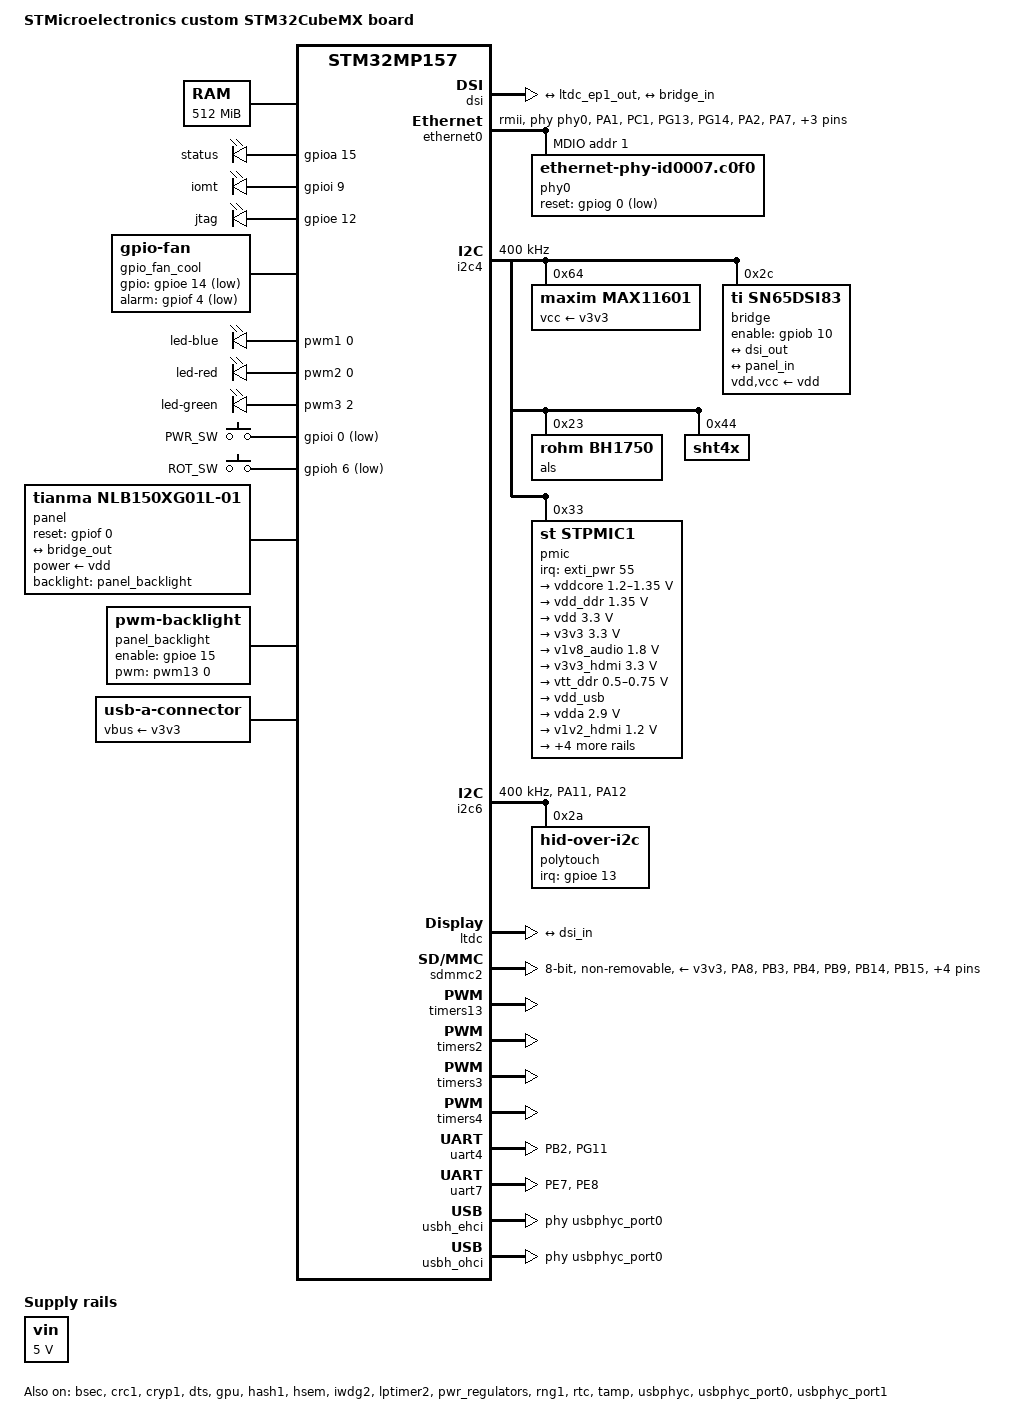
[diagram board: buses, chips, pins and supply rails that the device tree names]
	/* SPDX-License-Identifier: (GPL-2.0+ OR BSD-3-Clause) */
	/*
	 * Copyright (C) STMicroelectronics 2022 - All Rights Reserved
	 * Author: STM32CubeMX code generation for STMicroelectronics.
	 */

	/* For more information on Device Tree configuration, please refer to
	 * https://wiki.st.com/stm32mpu/wiki/Category:Device_tree_configuration
	 */

	/dts-v1/;
	#include <dt-bindings/pinctrl/stm32-pinfunc.h>

	#include "stm32mp157.dtsi"
	#include "stm32mp15xc.dtsi"
	#include "stm32mp15xxac-pinctrl.dtsi"
	#include "stm32mp15-m4-srm.dtsi"

	/* USER CODE BEGIN includes */
	#include <dt-bindings/gpio/gpio.h>
	#include <dt-bindings/mfd/st,stpmic1.h>
	#include <dt-bindings/rtc/rtc-stm32.h>
	#include <dt-bindings/input/input.h>
	#include <dt-bindings/pwm/pwm.h>


	/* USER CODE END includes */

	/ {
		model = "STMicroelectronics custom STM32CubeMX board";
		compatible = "st,stm32mp157c-v510-dsi-emmc-mx", "st,stm32mp157";

		memory@c0000000 {
			device_type = "memory";
			reg = <0xc0000000 0x20000000>;

			/* USER CODE BEGIN memory */
			/* USER CODE END memory */
		};

		reserved-memory {
			#address-cells = <1>;
			#size-cells = <1>;
			ranges;

			/* USER CODE BEGIN reserved-memory */

			mcuram2:mcuram2@10000000{
				compatible = "shared-dma-pool";
				reg = <0x10000000 0x40000>;
				no-map;
			};

			vdev0vring0:vdev0vring0@10040000{
				compatible = "shared-dma-pool";
				reg = <0x10040000 0x1000>;
				no-map;
			};

			vdev0vring1:vdev0vring1@10041000{
				compatible = "shared-dma-pool";
				reg = <0x10041000 0x1000>;
				no-map;
			};

			vdev0buffer:vdev0buffer@10042000{
				compatible = "shared-dma-pool";
				reg = <0x10042000 0x4000>;
				no-map;
			};

			mcu_rsc_table:mcu_rsc_table@10048000{
				compatible = "shared-dma-pool";
				reg = <0x10048000 0x8000>;
				no-map;
			};

			mcuram:mcuram@30000000{
				compatible = "shared-dma-pool";
				reg = <0x30000000 0x40000>;
				no-map;
			};

			retram:retram@38000000{
				compatible = "shared-dma-pool";
				reg = <0x38000000 0x10000>;
				no-map;
			};

			gpu_reserved:gpu@d4000000{
				reg = <0xd4000000 0x4000000>;
				no-map;
			};
			/* USER CODE END reserved-memory */
		};

		/* USER CODE BEGIN root */

		aliases{
			ethernet0 = &ethernet0;
			serial0 = &uart4;
			serial1 = &uart7;
		};

		led{
			compatible = "gpio-leds";

			led-0{
				label = "status";
				gpios = <&gpioa 15 GPIO_ACTIVE_HIGH>;
				linux,default-trigger = "cpu";
				default-state = "on";
			};
			
			//led-1{
				//label = "fan";
				//gpios = <&gpioe 14 GPIO_ACTIVE_HIGH>;
				//linux,default-trigger = "none";
				//default-state = "on";
			//};

			led-2{
				label = "iomt";
				gpios = <&gpioi 9 GPIO_ACTIVE_HIGH>;
				linux,default-trigger = "none";
				default-state = "on";
			};

			led-3{
				label = "jtag";
				gpios = <&gpioe 12 GPIO_ACTIVE_HIGH>;
				linux,default-trigger = "none";
				default-state = "on";
			};

		};

	
		gpio_fan_cool: gpio_fan {
			compatible = "gpio-fan";
			gpios = <&gpioe 14 1>;
			gpio-fan,speed-map = <0		0>,
								 <6000	1>;
			alarm-gpios = <&gpiof 4 1>;
			#cooling-cells = <2>;
			status="okay";
		};
		
		//thermal-zones {
			//cpu_thermal: cpu-thermal {
				//polling-delay = <1000>;
				//trips {
					//cpu-crit {
						//temperature = <120000>;
						//hysteresis = <5000>;
						//type = "critical";
					//};
					//threshold: trip-point@0 {
						//temperature = <60000>;
						//hysteresis = <10000>;
						//type = "passive";
					//};
				//};

				//cooling-maps {
					//map0 {
						//trip = <&threshold>;
						//cooling-device = <&gpio_fan_cool 0 1>;
					//};
				//};
			//};
		//};

		visual-alarm {
			compatible = "pwm-leds";
			led-blue {
				label = "led-blue";
				pwms = <&pwm1 0 1000000 0>;
				max-brightness = <127>;
			};



		   led-red {
				label = "led-red";
				pwms = <&pwm2 0 1000000 0>;
				max-brightness = <127>;
				linux,default-trigger = "default-on";
				brightness = <60>;
			};



		   led-green {
				label = "led-green";
				pwms = <&pwm3 2 1000000 0>;
				max-brightness = <127>;
				linux,default-trigger = "default-on";
				brightness = <60>;
			};
		};

		power-button {
			compatible = "gpio-keys";
			#size-cells = <0>;

			btn-0{
				label = "PWR_SW";
				gpios = <&gpioi 0 GPIO_ACTIVE_LOW>;
				gpio-key,wakeup;
				linux,code = <KEY_POWER> ;
			};
		};

		encoder-button {
			compatible = "gpio-keys";
			#size-cells = <0>;
			//poll-interval = <20>;

			btn-1{
				label = "ROT_SW";
				gpios = <&gpioh 6 GPIO_ACTIVE_LOW>;  // Actual is GPIOH 13
				linux,code = <KEY_SELECT> ;
			};
		};
		
		panel {
			compatible = "tianma,nlb150xg01l-01";
			//reg = <0>;
			backlight = <&panel_backlight>;
			reset-gpios = <&gpiof 0 GPIO_ACTIVE_HIGH>;
			power-supply = <&vdd>;
			status = "okay";
			port {
				panel_in: endpoint {
					remote-endpoint = <&bridge_out>;
				};
			};
		};

		usb_phy_tuning:usb-phy-tuning{
			st,hs-dc-level = <2>;
			st,fs-rftime-tuning;
			st,hs-rftime-reduction;
			st,hs-current-trim = <15>;
			st,hs-impedance-trim = <1>;
			st,squelch-level = <3>;
			st,hs-rx-offset = <2>;
			st,no-lsfs-sc;
		};

		vin:vin{
			compatible = "regulator-fixed";
			regulator-name = "vin";
			regulator-min-microvolt = <5000000>;
			regulator-max-microvolt = <5000000>;
			regulator-always-on;
		};

		chosen{
			stdout-path = "serial0:115200n8";
		};
		
		// Panel brightness should be changed from 500 to 1000 
		panel_backlight: panel-backlight {
			compatible = "pwm-backlight";
			pwms = <&pwm13 0 500000>;	//2KHz backlit frequency
			enable-gpios = <&gpioe 15 GPIO_ACTIVE_HIGH>;
			brightness-levels = <0 2048>;
			num-interpolated-steps = <2048>;
			default-brightness-level = <1000>;
			status = "okay";
		};

		/* USER CODE END root */	

		clocks {
			/* USER CODE BEGIN clocks */
			/* USER CODE END clocks */

	#ifndef CONFIG_TFABOOT
			clk_lsi: clk-lsi {
				clock-frequency = <32000>;
			};
			clk_hsi: clk-hsi {
				clock-frequency = <64000000>;
			};
			clk_csi: clk-csi {
				clock-frequency = <4000000>;
			};
			clk_lse: clk-lse {
				clock-frequency = <32768>;
			};
			clk_hse: clk-hse {
				clock-frequency = <24000000>;
			};
	#endif	/*CONFIG_TFABOOT*/
		};

	}; /*root*/

	&m4_rproc{
		/*Restriction: "memory-region" property is not managed - please to use User-Section if needed*/
		mboxes = <&ipcc 0>, <&ipcc 1>, <&ipcc 2>;
		mbox-names = "vq0", "vq1", "shutdown";
		status = "disabled";

		/* USER CODE BEGIN m4_rproc */
		memory-region = <&retram>, <&mcuram>, <&mcuram2>, <&vdev0vring0>,
				<&vdev0vring1>, <&vdev0buffer>, <&mcu_rsc_table>;
		interrupt-parent = <&exti>;
		interrupts = <68 1>;
		wakeup-source;
		/* USER CODE END m4_rproc */

		m4_system_resources{
			status = "disabled";

			/* USER CODE BEGIN m4_system_resources */
			/* USER CODE END m4_system_resources */
		};
	};

	&bsec{
		status = "okay";

		/* USER CODE BEGIN bsec */
		/* USER CODE END bsec */
	};

	&crc1{
		status = "okay";

		/* USER CODE BEGIN crc1 */
		/* USER CODE END crc1 */
	};

	&cryp1{
		u-boot,dm-pre-reloc;
		status = "okay";

		/* USER CODE BEGIN cryp1 */
		/* USER CODE END cryp1 */
	};

	&dma1{
		status = "okay";

		/* USER CODE BEGIN dma1 */
		sram = <&dma_pool>;
		/* USER CODE END dma1 */
	};

	&dma2{
		status = "okay";

		/* USER CODE BEGIN dma2 */
		sram = <&dma_pool>;	
		/* USER CODE END dma2 */
	};

	&dmamux1{

		dma-masters = <&dma1 &dma2>;
		dma-channels = <16>;

		status = "okay";

		/* USER CODE BEGIN dmamux1 */
		/* USER CODE END dmamux1 */
	};

	&dsi{
		 #address-cells = <1>;
		#size-cells = <0>;
		status = "okay";

		/* USER CODE BEGIN dsi */

		ports{
		
			#address-cells = <1>;
			#size-cells = <0>;

			port@0{
				reg = <0>;

				dsi_in:endpoint{
					remote-endpoint = <&ltdc_ep1_out>;
				};
			};

			port@1{
				reg = <1>;

				dsi_out:endpoint{
					remote-endpoint = <&bridge_in>;
					data-lanes = <0 1>;
					attach-bridge;
				};
			};
		};

		
		
		/* USER CODE END dsi */
	};

	&dts{
		status = "okay";

		/* USER CODE BEGIN dts */
		/* USER CODE END dts */
	};

	&ethernet0{
		pinctrl-names = "default", "sleep";
		pinctrl-0 = <&eth1_pins_mx>;
		pinctrl-1 = <&eth1_sleep_pins_mx>;
		status = "okay";

		/* USER CODE BEGIN ethernet0 */
		phy-mode = "rmii";
		max-speed = <100>;
		phy-handle = <&phy0>;
			st,ext-phyclk;
		mdio0 {
			#address-cells = <1>;
			#size-cells = <0>;
			compatible = "snps,dwmac-mdio";

			phy0: ethernet-phy@1 {
				reg = <1>;
				/* LAN8710Ai */
				compatible = "ethernet-phy-id0007.c0f0",
						 "ethernet-phy-ieee802.3-c22";
				reset-gpios = <&gpiog 0 GPIO_ACTIVE_LOW>;
				reset-assert-us = <1000>;
				reset-deassert-us = <1000>;
				smsc,disable-energy-detect;
				status="okay";
			};
		};
		/* USER CODE END ethernet0 */
	};

	&gpu{
		status = "okay";

		/* USER CODE BEGIN gpu */
		contiguous-area = <&gpu_reserved>;
		/* USER CODE END gpu */
	};

	&hash1{
		u-boot,dm-pre-reloc;
		status = "okay";

		/* USER CODE BEGIN hash1 */
		/* USER CODE END hash1 */
	};

	&hsem{
		status = "okay";

		/* USER CODE BEGIN hsem */
		/* USER CODE END hsem */
	};

	&i2c4{
		u-boot,dm-pre-reloc;
		pinctrl-names = "default", "sleep";
		pinctrl-0 = <&i2c4_pins_z_mx>;
		pinctrl-1 = <&i2c4_sleep_pins_z_mx>;
		status = "okay";
		/* spare dmas for other usage */
	    /delete-property/dmas;
		/delete-property/dma-names;

		/* USER CODE BEGIN i2c4 */
		i2c-scl-rising-time-ns = <185>;
		i2c-scl-falling-time-ns = <20>;
		clock-frequency = <400000>;

		
		max11601@64{
			compatible = "maxim,max11601";
			reg = <0x64>;
			vcc-supply = <&v3v3>;
		};
		
		bridge@2c {
			compatible = "ti,sn65dsi83";
			status = "okay";
			reg = <0x2c>;
			vdd-supply = <&vdd>;
			vcc-supply = <&vdd>;
			enable-gpios = <&gpiob 10 GPIO_ACTIVE_HIGH>;
			ports {
				#address-cells = <1>;
				#size-cells = <0>;
				port@0 {
					reg = <0>;
					bridge_in: endpoint {
						remote-endpoint = <&dsi_out>;
					};
				};
				port@1 {
					reg = <1>;
					bridge_out: endpoint {
					   remote-endpoint = <&panel_in>;
					};
				};
			};
		  
		};

		als@23{
			compatible = "rohm,bh1750";
			reg = <0x23>;
			status = "okay";
		};
		
		sht4x@44{
			compatible = "sht4x";
			reg = <0x44>;
			status = "okay";
		};
		
		pmic:stpmic@33{
			compatible = "st,stpmic1";
			reg = <0x33>;
			interrupts-extended = <&exti_pwr 55 IRQ_TYPE_EDGE_FALLING>;
			interrupt-controller;
			#interrupt-cells = <2>;
			status = "okay";

			regulators{
				compatible = "st,stpmic1-regulators";
				buck1-supply = <&vin>;
				buck2-supply = <&vin>;
				buck3-supply = <&vin>;
				buck4-supply = <&vin>;
				ldo1-supply = <&v3v3>;
				ldo2-supply = <&vin>;
				ldo3-supply = <&vdd_ddr>;
				ldo4-supply = <&vin>;
				ldo5-supply = <&vin>;
				ldo6-supply = <&v3v3>;
				vref_ddr-supply = <&vin>;
				boost-supply = <&vin>;
				pwr_sw1-supply = <&bst_out>;
				pwr_sw2-supply = <&bst_out>;

				vddcore:buck1{
					regulator-name = "vddcore";
					regulator-min-microvolt = <1200000>;
					regulator-max-microvolt = <1350000>;
					regulator-always-on;
					regulator-initial-mode = <0>;
					regulator-over-current-protection;
				};

				vdd_ddr:buck2{
					regulator-name = "vdd_ddr";
					regulator-min-microvolt = <1350000>;
					regulator-max-microvolt = <1350000>;
					regulator-always-on;
					regulator-initial-mode = <0>;
					regulator-over-current-protection;
				};

				vdd:buck3{
					regulator-name = "vdd";
					regulator-min-microvolt = <3300000>;
					regulator-max-microvolt = <3300000>;
					regulator-always-on;
					st,mask-reset;
					regulator-initial-mode = <0>;
					regulator-over-current-protection;
				};

				v3v3:buck4{
					regulator-name = "v3v3";
					regulator-min-microvolt = <3300000>;
					regulator-max-microvolt = <3300000>;
					regulator-always-on;
					regulator-over-current-protection;
					regulator-initial-mode = <0>;
				};

				v1v8_audio:ldo1{
					regulator-name = "v1v8_audio";
					regulator-min-microvolt = <1800000>;
					regulator-max-microvolt = <1800000>;
					regulator-always-on;
					interrupts = <IT_CURLIM_LDO1 0>;
				};

				v3v3_hdmi:ldo2{
					regulator-name = "v3v3_hdmi";
					regulator-min-microvolt = <3300000>;
					regulator-max-microvolt = <3300000>;
					regulator-always-on;
					interrupts = <IT_CURLIM_LDO2 0>;
				};

				vtt_ddr:ldo3{
					regulator-name = "vtt_ddr";
					regulator-min-microvolt = <500000>;
					regulator-max-microvolt = <750000>;
					regulator-always-on;
					regulator-over-current-protection;
				};

				vdd_usb:ldo4{
					regulator-name = "vdd_usb";
					interrupts = <IT_CURLIM_LDO4 0>;
				};

				vdda:ldo5{
					regulator-name = "vdda";
					regulator-min-microvolt = <2900000>;
					regulator-max-microvolt = <2900000>;
					interrupts = <IT_CURLIM_LDO5 0>;
					regulator-boot-on;
				};

				v1v2_hdmi:ldo6{
					regulator-name = "v1v2_hdmi";
					regulator-min-microvolt = <1200000>;
					regulator-max-microvolt = <1200000>;
					regulator-always-on;
					interrupts = <IT_CURLIM_LDO6 0>;
				};

				vref_ddr:vref_ddr{
					regulator-name = "vref_ddr";
					regulator-always-on;
					regulator-over-current-protection;
				};

				bst_out:boost{
					regulator-name = "bst_out";
					interrupts = <IT_OCP_BOOST 0>;
				};

				vbus_otg:pwr_sw1{
					regulator-name = "vbus_otg";
					interrupts = <IT_OCP_OTG 0>;
				};

				vbus_sw:pwr_sw2{
					regulator-name = "vbus_sw";
					interrupts = <IT_OCP_SWOUT 0>;
					regulator-active-discharge = <1>;
				};
			};

			onkey{
				compatible = "st,stpmic1-onkey";
				interrupts = <IT_PONKEY_F 0>, <IT_PONKEY_R 0>;
				interrupt-names = "onkey-falling", "onkey-rising";
				power-off-time-sec = <10>;
				status = "okay";
			};

			watchdog{
				compatible = "st,stpmic1-wdt";
				status = "disabled";
			};
		};
		/* USER CODE END i2c4 */
	};

	&i2c6{
		u-boot,dm-pre-reloc;
		pinctrl-names = "default", "sleep";
		pinctrl-0 = <&i2c6_pins_mx>;
		pinctrl-1 = <&i2c6_sleep_pins_mx>;
		status = "okay";

		/* USER CODE BEGIN i2c6 */

		i2c-scl-rising-time-ns = <185>;
		i2c-scl-falling-time-ns = <20>;
		clock-frequency = <400000>;
		dmas = <&mdma1 38 0x0 0x40008 0x0 0x0 0>,
			   <&mdma1 39 0x0 0x40002 0x0 0x0 0>;
		dma-names = "rx", "tx";

		polytouch: eegalax-ts@2a {
			compatible = "hid-over-i2c";
			reg = <0x2a>;
			hid-descr-addr = <0x000f>;
			interrupt-parent = <&gpioe>;
			interrupts = <13 IRQ_TYPE_LEVEL_LOW>;


			touchscreen-size-x = <1024>;
			touchscreen-size-y = <768>;
			touchscreen-inverted-x;
			touchscreen-inverted-y;
			status="okay";
		};
		/* USER CODE END i2c6 */
	};

	&ipcc{
		status = "okay";

		/* USER CODE BEGIN ipcc */
		/* USER CODE END ipcc */
	};

	&iwdg2{
		status = "okay";

		/* USER CODE BEGIN iwdg2 */
		timeout-sec = <32>;
		/* USER CODE END iwdg2 */
	};

	&lptimer2{
		status = "okay";

		/* USER CODE BEGIN lptimer2 */
		/* USER CODE END lptimer2 */

		counter{
			compatible = "st,stm32-lptimer-counter";
			pinctrl-names = "default", "sleep";
			pinctrl-0 = <&lptim2_counter_pins_mx>;
			pinctrl-1 = <&lptim2_counter_sleep_pins_mx>;
			status = "okay";

			/* USER CODE BEGIN lptimer2_counter */
			/* USER CODE END lptimer2_counter */
		};
	};

	&ltdc{
		status = "okay";

		/* USER CODE BEGIN ltdc */

		port{

			ltdc_ep1_out:endpoint@0{
				reg = <0>;
				remote-endpoint = <&dsi_in>;
			};
		};
		/* USER CODE END ltdc */
	};

	&m4_dma2{
		status = "disabled";

		/* USER CODE BEGIN m4_dma2 */
		/* USER CODE END m4_dma2 */
	};

	&mdma1{
		status = "okay";

		/* USER CODE BEGIN mdma1 */
		/* USER CODE END mdma1 */
	};

	&pwr_regulators{
		status = "okay";

		/* USER CODE BEGIN pwr_regulators */
		vdd-supply = <&vdd>;
		vdd_3v3_usbfs-supply = <&vdd_usb>;
		/* USER CODE END pwr_regulators */
	};

	&rcc{
		u-boot,dm-pre-reloc;
		status = "okay";

		/* USER CODE BEGIN rcc */
		/* USER CODE END rcc */
	};

	&rng1{
		status = "okay";

		/* USER CODE BEGIN rng1 */
		/* USER CODE END rng1 */
	};

	&rtc{
		status = "okay";

		/* USER CODE BEGIN rtc */
		/* USER CODE END rtc */
	};

	&sdmmc2{
		u-boot,dm-pre-reloc;
		pinctrl-names = "default", "opendrain", "sleep";
		pinctrl-0 = <&sdmmc2_pins_mx>;
		pinctrl-1 = <&sdmmc2_opendrain_pins_mx>;
		pinctrl-2 = <&sdmmc2_sleep_pins_mx>;
		status = "okay";

		/* USER CODE BEGIN sdmmc2 */
		non-removable;
		no-sd;
		no-sdio;
		mmc-ddr-3_3v;
		st,neg-edge;
		bus-width = <8>;
		vmmc-supply = <&v3v3>;
		vqmmc-supply = <&vdd>;
		/* USER CODE END sdmmc2 */
	};

	&tamp{
		status = "okay";

		/* USER CODE BEGIN tamp */
		/* USER CODE END tamp */
	};

	&timers13{
		status = "okay";

		/* USER CODE BEGIN timers13 */
		/* USER CODE END timers13 */

		pwm13:pwm{
			pinctrl-names = "default", "sleep";
			pinctrl-0 = <&tim13_pwm_pins_mx>;
			pinctrl-1 = <&tim13_pwm_sleep_pins_mx>;
			status = "okay";

			/* USER CODE BEGIN timers13_pwm */
			#pwm-cells = <2>;
			/* USER CODE END timers13_pwm */
		};
	};

	&timers2{
		status = "okay";
		/delete-property/dmas;
		/delete-property/dma-names;

		/* USER CODE BEGIN timers2 */
		/* USER CODE END timers2 */

		pwm1:pwm {
			pinctrl-names = "default", "sleep";
			pinctrl-0 = <&tim2_pwm_pins_mx>;
			pinctrl-1 = <&tim2_pwm_sleep_pins_mx>;
			status = "okay";

			/* USER CODE BEGIN timers2_pwm */
			/* USER CODE END timers2_pwm */
		};
	};

	&timers3{
		status = "okay";
		/delete-property/dmas;
		/delete-property/dma-names;

		/* USER CODE BEGIN timers3 */
		/* USER CODE END timers3 */

		pwm2:pwm {
			pinctrl-names = "default", "sleep";
			pinctrl-0 = <&tim3_pwm_pins_mx>;
			pinctrl-1 = <&tim3_pwm_sleep_pins_mx>;
			status = "okay";

			/* USER CODE BEGIN timers3_pwm */
			/* USER CODE END timers3_pwm */
		};
	};

	&timers1{
		

		/* USER CODE BEGIN timers3 */
		/* Enable DMA "ch1" for PWM input on TIM1_CH1 */
		dmas = <&dmamux1 13 0x400 0x80000001>;
		dma-names = "ch3";
		status = "disabled";
		/* USER CODE END timers3 */
		
		pwm {
			pinctrl-names = "default", "sleep";
			pinctrl-0 = <&tim1_pins_mx>;
			pinctrl-1 = <&tim1_sleep_pins_mx>;
			status = "okay";

			/* USER CODE BEGIN timers1_pwm */
			/* USER CODE END timers1_pwm */
		};
	};

	&timers4{
		status = "okay";
		/delete-property/dmas;
		/delete-property/dma-names;

		/* USER CODE BEGIN timers4 */
		/* USER CODE END timers4 */

		pwm3:pwm {
			pinctrl-names = "default", "sleep";
			pinctrl-0 = <&tim4_pwm_pins_mx>;
			pinctrl-1 = <&tim4_pwm_sleep_pins_mx>;
			status = "okay";

			/* USER CODE BEGIN timers4_pwm */
			/* USER CODE END timers4_pwm */
		};
	};

	&uart4{
		u-boot,dm-pre-reloc;
		pinctrl-names = "default", "sleep";
		pinctrl-0 = <&uart4_pins_mx>;
		pinctrl-1 = <&uart4_sleep_pins_mx>;
		status = "okay";

		/* USER CODE BEGIN uart4 */
		/delete-property/ dmas;
		/delete-property/ dma-names;
		/* USER CODE END uart4 */
	};


	&uart7{
		pinctrl-names = "default", "sleep";
		pinctrl-0 = <&uart7_pins_mx>;
		pinctrl-1 = <&uart7_sleep_pins_mx>;
		status = "okay";

		/* USER CODE BEGIN uart7 */
		/* USER CODE END uart7 */
	};

	&usbphyc{
			u-boot,dm-pre-reloc;
			status = "okay";

			/* USER CODE BEGIN usbphyc */
			/* USER CODE END usbphyc */
	};

	&usbphyc_port0{
			u-boot,dm-pre-reloc;
			status = "okay";

			/* USER CODE BEGIN usbphyc_port0 */
			phy-supply = <&vdd_usb>;
			st,phy-tuning = <&usb_phy_tuning>;

			connector{
					compatible = "usb-a-connector";
					vbus-supply = <&v3v3>;
			};
			/* USER CODE END usbphyc_port0 */
	};

	&usbphyc_port1{
			u-boot,dm-pre-reloc;
			status = "okay";

			/* USER CODE BEGIN usbphyc_port1 */
			phy-supply = <&vdd_usb>;
			st,phy-tuning = <&usb_phy_tuning>;
			/* USER CODE END usbphyc_port1 */
	};

	&usbh_ehci{
		status = "okay";

		/* USER CODE BEGIN usbh_ehci */
		phys = <&usbphyc_port0>, <&usbphyc_port1 1>;
		phy-names = "usb", "usb";
		/* USER CODE END usbh_ehci */
	};

	&usbh_ohci{
		status = "okay";

		/* USER CODE BEGIN usbh_ohci */
		phys = <&usbphyc_port0>, <&usbphyc_port1 1>;
		phy-names = "usb", "usb";
		/* USER CODE END usbh_ohci */
	};




	/* USER CODE BEGIN addons */

	&cpu0{
		cpu-supply = <&vddcore>;
	};

	&cpu1{
		cpu-supply = <&vddcore>;
	};

	&sram{

		dma_pool:dma_pool@0{
			reg = <0x50000 0x10000>;
			pool;
		};
	};

	/* USER CODE END addons */

	&pinctrl {
		u-boot,dm-pre-reloc;

		eth1_pins_mx: eth1_mx-0 {
			pins1 {
				pinmux = <STM32_PINMUX('A', 1, AF11)>, /* ETH1_REF_CLK */
						 <STM32_PINMUX('C', 1, AF11)>, /* ETH1_MDC */
						 <STM32_PINMUX('G', 13, AF11)>, /* ETH1_TXD0 */
						 <STM32_PINMUX('G', 14, AF11)>; /* ETH1_TXD1 */
				bias-disable;
				drive-push-pull;
				slew-rate = <1>;
			};
			pins2 {
				pinmux = <STM32_PINMUX('A', 2, AF11)>; /* ETH1_MDIO */
				bias-disable;
				drive-push-pull;
				slew-rate = <0>;
			};
			pins3 {
				pinmux = <STM32_PINMUX('A', 7, AF11)>, /* ETH1_CRS_DV */
						 <STM32_PINMUX('C', 4, AF11)>, /* ETH1_RXD0 */
						 <STM32_PINMUX('C', 5, AF11)>; /* ETH1_RXD1 */
				bias-disable;
			};
			pins4 {
				pinmux = <STM32_PINMUX('B', 11, AF11)>; /* ETH1_TX_EN */
			};
		};

		eth1_sleep_pins_mx: eth1_sleep_mx-0 {
			pins {
				pinmux = <STM32_PINMUX('A', 1, ANALOG)>, /* ETH1_REF_CLK */
						 <STM32_PINMUX('A', 2, ANALOG)>, /* ETH1_MDIO */
						 <STM32_PINMUX('A', 7, ANALOG)>, /* ETH1_CRS_DV */
						 <STM32_PINMUX('B', 11, ANALOG)>, /* ETH1_TX_EN */
						 <STM32_PINMUX('C', 1, ANALOG)>, /* ETH1_MDC */
						 <STM32_PINMUX('C', 4, ANALOG)>, /* ETH1_RXD0 */
						 <STM32_PINMUX('C', 5, ANALOG)>, /* ETH1_RXD1 */
						 <STM32_PINMUX('G', 13, ANALOG)>, /* ETH1_TXD0 */
						 <STM32_PINMUX('G', 14, ANALOG)>; /* ETH1_TXD1 */
			};
		};

		i2c6_pins_mx: i2c6_mx-0 {
			u-boot,dm-pre-reloc;
			pins {
				u-boot,dm-pre-reloc;
				pinmux = <STM32_PINMUX('A', 11, AF2)>, /* I2C6_SCL */
						 <STM32_PINMUX('A', 12, AF2)>; /* I2C6_SDA */
				bias-disable;
				drive-open-drain;
				slew-rate = <0>;
			};
		};

		i2c6_sleep_pins_mx: i2c6_sleep_mx-0 {
			u-boot,dm-pre-reloc;
			pins {
				u-boot,dm-pre-reloc;
				pinmux = <STM32_PINMUX('A', 11, ANALOG)>, /* I2C6_SCL */
						 <STM32_PINMUX('A', 12, ANALOG)>; /* I2C6_SDA */
			};
		};

		lptim2_counter_pins_mx: lptim2_counter_mx-0 {
			pins {
				pinmux = <STM32_PINMUX('D', 11, AF3)>, /* LPTIM2_IN2 */
						 <STM32_PINMUX('D', 12, AF3)>; /* LPTIM2_IN1 */
				bias-disable;
			};
		};

		lptim2_counter_sleep_pins_mx: lptim2_counter_sleep_mx-0 {
			pins {
				pinmux = <STM32_PINMUX('D', 11, ANALOG)>, /* LPTIM2_IN2 */
						 <STM32_PINMUX('D', 12, ANALOG)>; /* LPTIM2_IN1 */
			};
		};

		sdmmc2_pins_mx: sdmmc2_mx-0 {
			u-boot,dm-pre-reloc;
			pins1 {
				u-boot,dm-pre-reloc;
				pinmux = <STM32_PINMUX('A', 8, AF9)>, /* SDMMC2_D4 */
						 <STM32_PINMUX('B', 3, AF9)>, /* SDMMC2_D2 */
						 <STM32_PINMUX('B', 4, AF9)>, /* SDMMC2_D3 */
						 <STM32_PINMUX('B', 9, AF10)>, /* SDMMC2_D5 */
						 <STM32_PINMUX('B', 14, AF9)>, /* SDMMC2_D0 */
						 <STM32_PINMUX('B', 15, AF9)>, /* SDMMC2_D1 */
						 <STM32_PINMUX('C', 7, AF10)>, /* SDMMC2_D7 */
						 <STM32_PINMUX('E', 5, AF9)>, /* SDMMC2_D6 */
						 <STM32_PINMUX('G', 6, AF10)>; /* SDMMC2_CMD */
				bias-pull-up;
				drive-push-pull;
				slew-rate = <1>;
			};
			pins2 {
				u-boot,dm-pre-reloc;
				pinmux = <STM32_PINMUX('E', 3, AF9)>; /* SDMMC2_CK */
				bias-pull-up;
				drive-push-pull;
				slew-rate = <3>;
			};
		};

		sdmmc2_opendrain_pins_mx: sdmmc2_opendrain_mx-0 {
			u-boot,dm-pre-reloc;
			pins1 {
				u-boot,dm-pre-reloc;
				pinmux = <STM32_PINMUX('A', 8, AF9)>, /* SDMMC2_D4 */
						 <STM32_PINMUX('B', 3, AF9)>, /* SDMMC2_D2 */
						 <STM32_PINMUX('B', 4, AF9)>, /* SDMMC2_D3 */
						 <STM32_PINMUX('B', 9, AF10)>, /* SDMMC2_D5 */
						 <STM32_PINMUX('B', 14, AF9)>, /* SDMMC2_D0 */
						 <STM32_PINMUX('B', 15, AF9)>, /* SDMMC2_D1 */
						 <STM32_PINMUX('C', 7, AF10)>, /* SDMMC2_D7 */
						 <STM32_PINMUX('E', 5, AF9)>; /* SDMMC2_D6 */
				bias-pull-up;
				drive-push-pull;
				slew-rate = <1>;
			};
			pins2 {
				u-boot,dm-pre-reloc;
				pinmux = <STM32_PINMUX('E', 3, AF9)>; /* SDMMC2_CK */
				bias-pull-up;
				drive-push-pull;
				slew-rate = <3>;
			};
			pins3 {
				u-boot,dm-pre-reloc;
				pinmux = <STM32_PINMUX('G', 6, AF10)>; /* SDMMC2_CMD */
				bias-pull-up;
				drive-open-drain;
				slew-rate = <1>;
			};
		};

		sdmmc2_sleep_pins_mx: sdmmc2_sleep_mx-0 {
			u-boot,dm-pre-reloc;
			pins {
				u-boot,dm-pre-reloc;
				pinmux = <STM32_PINMUX('A', 8, ANALOG)>, /* SDMMC2_D4 */
						 <STM32_PINMUX('B', 3, ANALOG)>, /* SDMMC2_D2 */
						 <STM32_PINMUX('B', 4, ANALOG)>, /* SDMMC2_D3 */
						 <STM32_PINMUX('B', 9, ANALOG)>, /* SDMMC2_D5 */
						 <STM32_PINMUX('B', 14, ANALOG)>, /* SDMMC2_D0 */
						 <STM32_PINMUX('B', 15, ANALOG)>, /* SDMMC2_D1 */
						 <STM32_PINMUX('C', 7, ANALOG)>, /* SDMMC2_D7 */
						 <STM32_PINMUX('E', 3, ANALOG)>, /* SDMMC2_CK */
						 <STM32_PINMUX('E', 5, ANALOG)>, /* SDMMC2_D6 */
						 <STM32_PINMUX('G', 6, ANALOG)>; /* SDMMC2_CMD */
			};
		};

		tim13_pwm_pins_mx: tim13_pwm_mx-0 {
			pins {
				pinmux = <STM32_PINMUX('F', 8, AF9)>; /* TIM13_CH1 */
				bias-disable;
				drive-push-pull;
				slew-rate = <0>;
			};
		};

		tim13_pwm_sleep_pins_mx: tim13_pwm_sleep_mx-0 {
			pins {
				pinmux = <STM32_PINMUX('F', 8, ANALOG)>; /* TIM13_CH1 */
			};
		};

		tim2_pwm_pins_mx: tim2_pwm_mx-0 {
			pins {
				pinmux = <STM32_PINMUX('G', 8, AF1)>; /* TIM2_CH1 */
				bias-disable;
				drive-push-pull;
				slew-rate = <0>;
			};
		};

		tim2_pwm_sleep_pins_mx: tim2_pwm_sleep_mx-0 {
			pins {
				pinmux = <STM32_PINMUX('G', 8, ANALOG)>; /* TIM2_CH1 */
			};
		};

		tim3_pwm_pins_mx: tim3_pwm_mx-0 {
			pins {
				pinmux = <STM32_PINMUX('A', 6, AF2)>; /* TIM3_CH1 */
				bias-disable;
				drive-push-pull;
				slew-rate = <0>;
			};
		};

		tim3_pwm_sleep_pins_mx: tim3_pwm_sleep_mx-0 {
			pins {
				pinmux = <STM32_PINMUX('A', 6, ANALOG)>; /* TIM3_CH1 */
			};
		};

		tim4_pwm_pins_mx: tim4_pwm_mx-0 {
			pins {
				pinmux = <STM32_PINMUX('B', 8, AF2)>; /* TIM4_CH3 */
				bias-disable;
				drive-push-pull;
				slew-rate = <0>;
			};
		};

		tim4_pwm_sleep_pins_mx: tim4_pwm_sleep_mx-0 {
			pins {
				pinmux = <STM32_PINMUX('B', 8, ANALOG)>; /* TIM4_CH3 */
			};
		};
		
		tim1_pins_mx: tim1_mx-0 {
			pins {
				pinmux = <STM32_PINMUX('E', 14, AF1)>; /* TIM1_CH4 */
				bias-disable;
			};
		};

		tim1_sleep_pins_mx: tim1_sleep_mx-0 {
			pins {
				pinmux = <STM32_PINMUX('E', 14, ANALOG)>; /* TIM1_CH4 */
			};
		};

		uart4_pins_mx: uart4_mx-0 {
			u-boot,dm-pre-reloc;
			pins1 {
				u-boot,dm-pre-reloc;
				pinmux = <STM32_PINMUX('B', 2, AF8)>; /* UART4_RX */
				bias-disable;
			};
			pins2 {
				u-boot,dm-pre-reloc;
				pinmux = <STM32_PINMUX('G', 11, AF6)>; /* UART4_TX */
				bias-disable;
				drive-push-pull;
				slew-rate = <0>;
			};
		};

		uart4_sleep_pins_mx: uart4_sleep_mx-0 {
			u-boot,dm-pre-reloc;
			pins {
				u-boot,dm-pre-reloc;
				pinmux = <STM32_PINMUX('B', 2, ANALOG)>, /* UART4_RX */
						 <STM32_PINMUX('G', 11, ANALOG)>; /* UART4_TX */
			};
		};

		uart7_pins_mx: uart7_mx-0 {
			pins1 {
				pinmux = <STM32_PINMUX('E', 7, AF7)>; /* UART7_RX */
				bias-disable;
			};
			pins2 {
				pinmux = <STM32_PINMUX('E', 8, AF7)>; /* UART7_TX */
				bias-disable;
				drive-push-pull;
				slew-rate = <0>;
			};
		};

		uart7_sleep_pins_mx: uart7_sleep_mx-0 {
			pins {
				pinmux = <STM32_PINMUX('E', 7, ANALOG)>, /* UART7_RX */
						 <STM32_PINMUX('E', 8, ANALOG)>; /* UART7_TX */
			};
		};

		/* USER CODE BEGIN pinctrl */
		/* USER CODE END pinctrl */
	};

	&pinctrl_z {
		u-boot,dm-pre-reloc;

		i2c4_pins_z_mx: i2c4_mx-0 {
			u-boot,dm-pre-reloc;
			pins {
				u-boot,dm-pre-reloc;
				pinmux = <STM32_PINMUX('Z', 4, AF6)>, /* I2C4_SCL */
						 <STM32_PINMUX('Z', 5, AF6)>; /* I2C4_SDA */
				bias-disable;
				drive-open-drain;
				slew-rate = <0>;
			};
		};

		i2c4_sleep_pins_z_mx: i2c4_sleep_mx-0 {
			u-boot,dm-pre-reloc;
			pins {
				u-boot,dm-pre-reloc;
				pinmux = <STM32_PINMUX('Z', 4, ANALOG)>, /* I2C4_SCL */
						 <STM32_PINMUX('Z', 5, ANALOG)>; /* I2C4_SDA */
			};
		};

		/* USER CODE BEGIN pinctrl_z */
		/* USER CODE END pinctrl_z */
	};
